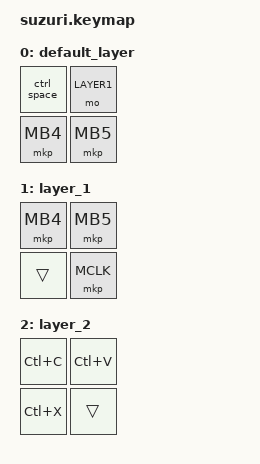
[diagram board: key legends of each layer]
#include <behaviors.dtsi> 
#include <dt-bindings/zmk/keys.h>
#include <dt-bindings/zmk/bt.h>
#include <dt-bindings/zmk/mouse.h>

// レイヤーの定義
#define DEFAULT 0
#define LAYER1  1
#define LAYER2  2

/ {
    // --- 追加: Ctrl+Space マクロ ---
    macros {
    ctrl_space: ctrl_space {
        compatible = "zmk,behavior-macro";
        #binding-cells = <0>;
        bindings = <
            &macro_press &kp LCTRL
            &macro_tap   &kp SPACE
            &macro_release &kp LCTRL
            >;
        };
    };

    keymap {
        // キーマップの定義
        // 参考 https://zmk.dev/docs/keymaps
        compatible = "zmk,keymap";

        default_layer {
            bindings = <
                &ctrl_space  &mo LAYER1
                &mkp MB4   &mkp MB5
            >;
        };

        layer_1 {
            bindings = <
                &mkp MB4     &mkp MB5
                &trans       &mkp MCLK
            >;
        };

        layer_2 {
            bindings = <
                &kp LC(C)    &kp LC(V)
                &kp LC(X)    &trans
            >;
        };
    };
};

// トラックボールの設定(カスタマイズしたい場合は以下をコメントアウトして編集してください)
// #include <input/processors.dtsi>  
// #include <dt-bindings/zmk/input_transform.h>  
// 
// / {
//     trackball_listener {
//         // Input Processor を使用して、トラックボールの入力を処理できます。
//         // 参考 https://zmk.dev/docs/keymaps/input-processors
//         compatible = "zmk,input-listener";
//         device = <&trackball>;
//         input-processors = 
//             <&zip_x_scaler 9 8>, // X軸（横方向）の移動量を1.125倍に調整。倍率を大きくすると、Y軸（縦方向）の移動時に横ブレを感じやすくなります。
//             <&zip_xy_transform INPUT_TRANSFORM_X_INVERT>; // X軸反転
//
//         scroller {
//             layers = <1>;
//             input-processors =
//                 <&zip_xy_to_scroll_mapper>,
//                 <&zip_scroll_transform INPUT_TRANSFORM_Y_INVERT>, // Y軸反転
//                 <&zip_scroll_scaler 1 30>; // スクロール速度を1/30に調整
//             process-next;
//         };
//     };
// };
